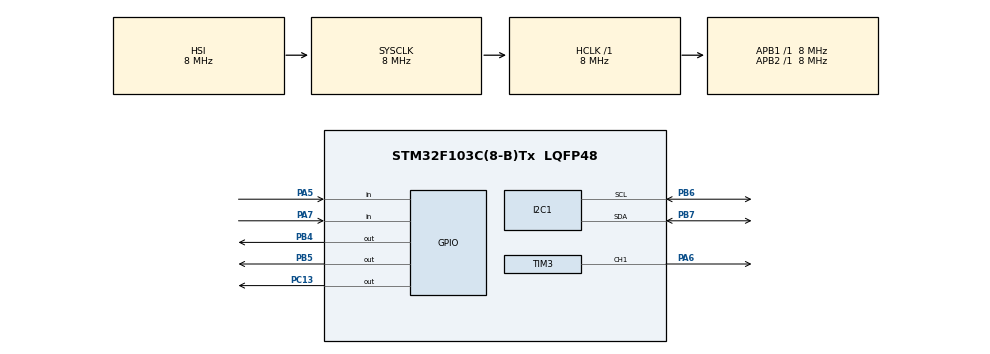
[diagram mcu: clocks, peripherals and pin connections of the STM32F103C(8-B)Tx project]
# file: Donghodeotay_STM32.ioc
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I2C1.I2C_Mode=I2C_Fast
Mcu.Family=STM32F1
Mcu.Name=STM32F103C(8-B)Tx
Mcu.Package=LQFP48
NVIC.PriorityGroup=NVIC_PRIORITYGROUP_4
NVIC.TIM1_UP_IRQn=true\:0\:0\:false\:false\:true\:true\:true\:true
PA13.Mode=Serial_Wire
PA13.Signal=SYS_JTMS-SWDIO
PA14.Mode=Serial_Wire
PA14.Signal=SYS_JTCK-SWCLK
PA5.GPIO_PuPd=GPIO_PULLDOWN
PA5.Signal=GPIO_Input
PA6.Signal=S_TIM3_CH1
PA7.GPIO_PuPd=GPIO_PULLDOWN
PA7.Signal=GPIO_Input
PB4.GPIO_PuPd=GPIO_PULLUP
PB4.GPIO_Speed=GPIO_SPEED_FREQ_LOW
PB4.PinState=GPIO_PIN_SET
PB4.Signal=GPIO_Output
PB5.GPIO_PuPd=GPIO_PULLUP
PB5.PinState=GPIO_PIN_SET
PB5.Signal=GPIO_Output
PB6.Mode=I2C
PB6.Signal=I2C1_SCL
PB7.Mode=I2C
PB7.Signal=I2C1_SDA
PC13-TAMPER-RTC.GPIO_PuPd=GPIO_PULLDOWN
PC13-TAMPER-RTC.PinState=GPIO_PIN_SET
PC13-TAMPER-RTC.Signal=GPIO_Output
ProjectManager.HeapSize=0x200
ProjectManager.StackSize=0x400
ProjectManager.TargetToolchain=STM32CubeIDE
RCC.AHBFreq_Value=8000000
RCC.APB1Freq_Value=8000000
RCC.APB1TimFreq_Value=8000000
RCC.APB2Freq_Value=8000000
RCC.APB2TimFreq_Value=8000000
RCC.HCLKFreq_Value=8000000
RCC.PLLMUL=RCC_PLL_MUL16
RCC.SYSCLKFreq_VALUE=8000000
RCC.USBFreq_Value=64000000
SH.S_TIM3_CH1.0=TIM3_CH1,PWM Generation1 CH1
TIM1.Period=9999
TIM1.Prescaler=79
TIM3.Channel-PWM\ Generation1\ CH1=TIM_CHANNEL_1
TIM3.OCFastMode_PWM-PWM\ Generation1\ CH1=TIM_OCFAST_ENABLE
TIM3.OCMode_PWM-PWM\ Generation1\ CH1=TIM_OCMODE_PWM1
TIM3.Period=999
TIM3.Prescaler=7
TIM3.Pulse-PWM\ Generation1\ CH1=499
VP_TIM1_VS_ClockSourceINT.Mode=Internal
VP_TIM3_VS_ClockSourceINT.Mode=Internal
board=custom

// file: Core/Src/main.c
/* USER CODE BEGIN Header */
/**
  ******************************************************************************
  * @file           : main.c
  * @brief          : Main program body
  ******************************************************************************
  * @attention
  *
  * Copyright (c) 2024 STMicroelectronics.
  * All rights reserved.
  *
  * This software is licensed under terms that can be found in the LICENSE file
  * in the root directory of this software component.
  * If no LICENSE file comes with this software, it is provided AS-IS.
  *
  ******************************************************************************
  */
/* USER CODE END Header */
#include "main.h"

/* USER CODE BEGIN Includes */
#include "FirmwareInclude.h"
#include "ApplicationInclude.h"

#include "LMC.h"
/* USER CODE END Includes */

I2C_HandleTypeDef hi2c1;

TIM_HandleTypeDef htim1;
TIM_HandleTypeDef htim3;

/* USER CODE BEGIN PV */
stRtcTime test = {0,49,9,1,1,12,24};
uint8_t error;
uint8_t mode = 1;
uint8_t updatescreen = 0;
//extern I2C_HandleTypeDef *i2cController;

/* USER CODE END PV */

void SystemClock_Config(void);
static void MX_GPIO_Init(void);
static void MX_I2C1_Init(void);
static void MX_TIM3_Init(void);
static void MX_TIM1_Init(void);

/* USER CODE BEGIN 0 */
void HAL_TIM_PeriodElapsedCallback(TIM_HandleTypeDef *htim) {
	if (htim->Instance == TIM1) {
		updatescreen = 1;
	}
}
/* USER CODE END 0 */

int main(void)
{

  /* MCU Configuration--------------------------------------------------------*/

  /* Reset of all peripherals, Initializes the Flash interface and the Systick. */
  HAL_Init();

  /* Configure the system clock */
  SystemClock_Config();

  /* Initialize all configured peripherals */
  MX_GPIO_Init();
  MX_I2C1_Init();
  MX_TIM3_Init();
  MX_TIM1_Init();
  /* USER CODE BEGIN 2 */
//  i2cController = &hi2c1;
  Rtc_Init(&hi2c1);
  Oled_Init(&hi2c1);
  Led_Init(GPIOC, GPIO_PIN_13, GPIOB, GPIO_PIN_2);
  Beep_Init(&htim3, TIM_CHANNEL_1);
  Button_Init(GPIOA, GPIO_PIN_5, GPIOA, GPIO_PIN_6, GPIOA, GPIO_PIN_7);
  HAL_TIM_Base_Start_IT(&htim1);

  MainStateInit();

//  error = DS1307_SetTime(&test);

  /* USER CODE END 2 */

  /* Infinite loop */
  while (1)
  {

    /* USER CODE BEGIN 3 */

	  MainStateMachine();
	  MainStateAction();

	  if (updatescreen == 1) {
		  updatescreen = 0;
		  UpdateScreen(NO);
	  }

  }
  /* USER CODE END 3 */
}

void SystemClock_Config(void)
{
  RCC_OscInitTypeDef RCC_OscInitStruct = {0};
  RCC_ClkInitTypeDef RCC_ClkInitStruct = {0};

  /** Initializes the RCC Oscillators according to the specified parameters
  * in the RCC_OscInitTypeDef structure.
  */
  RCC_OscInitStruct.OscillatorType = RCC_OSCILLATORTYPE_HSI;
  RCC_OscInitStruct.HSIState = RCC_HSI_ON;
  RCC_OscInitStruct.HSICalibrationValue = RCC_HSICALIBRATION_DEFAULT;
  RCC_OscInitStruct.PLL.PLLState = RCC_PLL_NONE;
  if (HAL_RCC_OscConfig(&RCC_OscInitStruct) != HAL_OK)
  {
    Error_Handler();
  }

  /** Initializes the CPU, AHB and APB buses clocks
  */
  RCC_ClkInitStruct.ClockType = RCC_CLOCKTYPE_HCLK|RCC_CLOCKTYPE_SYSCLK
                              |RCC_CLOCKTYPE_PCLK1|RCC_CLOCKTYPE_PCLK2;
  RCC_ClkInitStruct.SYSCLKSource = RCC_SYSCLKSOURCE_HSI;
  RCC_ClkInitStruct.AHBCLKDivider = RCC_SYSCLK_DIV1;
  RCC_ClkInitStruct.APB1CLKDivider = RCC_HCLK_DIV1;
  RCC_ClkInitStruct.APB2CLKDivider = RCC_HCLK_DIV1;

  if (HAL_RCC_ClockConfig(&RCC_ClkInitStruct, FLASH_LATENCY_0) != HAL_OK)
  {
    Error_Handler();
  }
}

static void MX_I2C1_Init(void)
{

  hi2c1.Instance = I2C1;
  hi2c1.Init.ClockSpeed = 400000;
  hi2c1.Init.DutyCycle = I2C_DUTYCYCLE_2;
  hi2c1.Init.OwnAddress1 = 0;
  hi2c1.Init.AddressingMode = I2C_ADDRESSINGMODE_7BIT;
  hi2c1.Init.DualAddressMode = I2C_DUALADDRESS_DISABLE;
  hi2c1.Init.OwnAddress2 = 0;
  hi2c1.Init.GeneralCallMode = I2C_GENERALCALL_DISABLE;
  hi2c1.Init.NoStretchMode = I2C_NOSTRETCH_DISABLE;
  if (HAL_I2C_Init(&hi2c1) != HAL_OK)
  {
    Error_Handler();
  }

}

static void MX_TIM1_Init(void)
{

  TIM_ClockConfigTypeDef sClockSourceConfig = {0};
  TIM_MasterConfigTypeDef sMasterConfig = {0};

  htim1.Instance = TIM1;
  htim1.Init.Prescaler = 79;
  htim1.Init.CounterMode = TIM_COUNTERMODE_UP;
  htim1.Init.Period = 6999;
  htim1.Init.ClockDivision = TIM_CLOCKDIVISION_DIV1;
  htim1.Init.RepetitionCounter = 0;
  htim1.Init.AutoReloadPreload = TIM_AUTORELOAD_PRELOAD_DISABLE;
  if (HAL_TIM_Base_Init(&htim1) != HAL_OK)
  {
    Error_Handler();
  }
  sClockSourceConfig.ClockSource = TIM_CLOCKSOURCE_INTERNAL;
  if (HAL_TIM_ConfigClockSource(&htim1, &sClockSourceConfig) != HAL_OK)
  {
    Error_Handler();
  }
  sMasterConfig.MasterOutputTrigger = TIM_TRGO_RESET;
  sMasterConfig.MasterSlaveMode = TIM_MASTERSLAVEMODE_DISABLE;
  if (HAL_TIMEx_MasterConfigSynchronization(&htim1, &sMasterConfig) != HAL_OK)
  {
    Error_Handler();
  }

}

static void MX_TIM3_Init(void)
{

  TIM_ClockConfigTypeDef sClockSourceConfig = {0};
  TIM_MasterConfigTypeDef sMasterConfig = {0};
  TIM_OC_InitTypeDef sConfigOC = {0};

  htim3.Instance = TIM3;
  htim3.Init.Prescaler = 7;
  htim3.Init.CounterMode = TIM_COUNTERMODE_UP;
  htim3.Init.Period = 999;
  htim3.Init.ClockDivision = TIM_CLOCKDIVISION_DIV1;
  htim3.Init.AutoReloadPreload = TIM_AUTORELOAD_PRELOAD_DISABLE;
  if (HAL_TIM_Base_Init(&htim3) != HAL_OK)
  {
    Error_Handler();
  }
  sClockSourceConfig.ClockSource = TIM_CLOCKSOURCE_INTERNAL;
  if (HAL_TIM_ConfigClockSource(&htim3, &sClockSourceConfig) != HAL_OK)
  {
    Error_Handler();
  }
  if (HAL_TIM_PWM_Init(&htim3) != HAL_OK)
  {
    Error_Handler();
  }
  sMasterConfig.MasterOutputTrigger = TIM_TRGO_RESET;
  sMasterConfig.MasterSlaveMode = TIM_MASTERSLAVEMODE_DISABLE;
  if (HAL_TIMEx_MasterConfigSynchronization(&htim3, &sMasterConfig) != HAL_OK)
  {
    Error_Handler();
  }
  sConfigOC.OCMode = TIM_OCMODE_PWM1;
  sConfigOC.Pulse = 499;
  sConfigOC.OCPolarity = TIM_OCPOLARITY_HIGH;
  sConfigOC.OCFastMode = TIM_OCFAST_ENABLE;
  if (HAL_TIM_PWM_ConfigChannel(&htim3, &sConfigOC, TIM_CHANNEL_1) != HAL_OK)
  {
    Error_Handler();
  }
  HAL_TIM_MspPostInit(&htim3);

}

static void MX_GPIO_Init(void)
{
  GPIO_InitTypeDef GPIO_InitStruct = {0};

  /* GPIO Ports Clock Enable */
  __HAL_RCC_GPIOC_CLK_ENABLE();
  __HAL_RCC_GPIOA_CLK_ENABLE();
  __HAL_RCC_GPIOB_CLK_ENABLE();

  /*Configure GPIO pin Output Level */
  HAL_GPIO_WritePin(GPIOC, GPIO_PIN_13, GPIO_PIN_SET);

  /*Configure GPIO pin Output Level */
  HAL_GPIO_WritePin(GPIOB, GPIO_PIN_4|GPIO_PIN_5, GPIO_PIN_SET);

  /*Configure GPIO pin : PC13 */
  GPIO_InitStruct.Pin = GPIO_PIN_13;
  GPIO_InitStruct.Mode = GPIO_MODE_OUTPUT_PP;
  GPIO_InitStruct.Pull = GPIO_PULLDOWN;
  GPIO_InitStruct.Speed = GPIO_SPEED_FREQ_LOW;
  HAL_GPIO_Init(GPIOC, &GPIO_InitStruct);

  /*Configure GPIO pins : PA5 PA7 */
  GPIO_InitStruct.Pin = GPIO_PIN_5|GPIO_PIN_7;
  GPIO_InitStruct.Mode = GPIO_MODE_INPUT;
  GPIO_InitStruct.Pull = GPIO_PULLDOWN;
  HAL_GPIO_Init(GPIOA, &GPIO_InitStruct);

  /*Configure GPIO pins : PB4 PB5 */
  GPIO_InitStruct.Pin = GPIO_PIN_4|GPIO_PIN_5;
  GPIO_InitStruct.Mode = GPIO_MODE_OUTPUT_PP;
  GPIO_InitStruct.Pull = GPIO_PULLUP;
  GPIO_InitStruct.Speed = GPIO_SPEED_FREQ_LOW;
  HAL_GPIO_Init(GPIOB, &GPIO_InitStruct);

}

void Error_Handler(void)
{
  __disable_irq();
  while (1)
  {
  }
}
